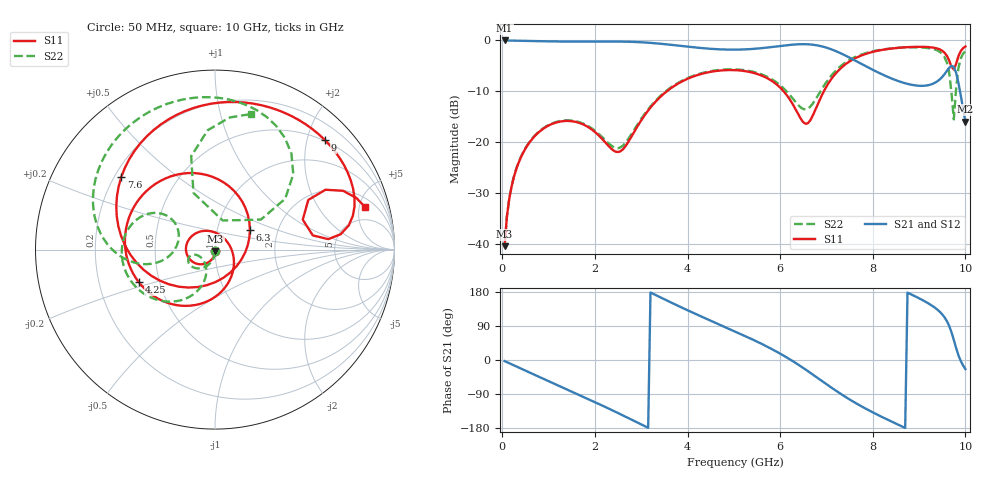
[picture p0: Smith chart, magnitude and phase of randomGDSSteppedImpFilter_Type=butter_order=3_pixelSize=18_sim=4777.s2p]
! freq	dB(S11)	phase(S11)	dB(S12)	phase(S12)
!  dB(S21)	phase(S21)	dB(S22)	phase(S22)
!S-par simulation data
#  GHz  S  DB  R 50
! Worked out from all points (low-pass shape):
!   200 points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, 50 MHz to 10 GHz, reference 50 ohm
!   highest |S21| = -0.02 dB at 50 MHz (marker M1); lowest = -15.9 dB at 10 GHz (marker M2)
!   |S21| within 3 dB of the highest: start of sweep to 7.418 GHz
!   lowest |S11| = -40.4 dB at 50 MHz (marker M3), VSWR 1.02, Z = 50.1 - j0.953 ohm
!   |S11| at or under -10 dB: start of sweep to 3.551 GHz; 6.075 GHz to 6.943 GHz (868.7 MHz wide, 13.3 % of centre)
!   |S22| runs from -40.4 to -1.4 dB; largest |S21 - S12| = 0
!   S11 on the Smith chart (normalised r, x): 50 MHz: 1.00, -0.02; 4.25 GHz: 0.38, -0.18; 6.3 GHz: 1.44, +0.34; 7.6 GHz: 0.23, +0.33; 9 GHz: 0.48, +2.33; 10 GHz: 2.97, +5.76
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0.05  -40.40 -84.6  -0.02 -2.9  -0.02 -2.9  -40.35 -83.7
0.2  -28.70 -98.8  -0.05 -11.3  -0.05 -11.3  -28.63 -95.4
0.55  -20.52 -124.3  -0.11 -30.8  -0.11 -30.8  -20.43 -114.5
1.15  -16.16 -165.1  -0.22 -64.0  -0.22 -64.0  -16.05 -141.9
1.75  -16.52 149.7  -0.25 -97.1  -0.25 -97.1  -16.34 -163.0
2.55  -21.78 27.3  -0.24 -143.0  -0.24 -143.0  -21.02 -134.4
3.4  -11.20 -93.6  -0.65 166.1  -0.65 166.1  -11.02 -116.3
4.25  -6.71 -156.8  -1.47 117.4  -1.47 117.4  -6.58 -149.1
5.05  -5.86 149.7  -1.82 74.0  -1.82 74.0  -5.71 179.1
5.7  -7.32 100.9  -1.44 36.4  -1.44 36.4  -7.06 154.8
6.3  -12.98 29.9  -0.82 -5.1  -0.82 -5.1  -11.73 147.3
6.55  -16.38 -38.3  -0.75 -25.2  -0.75 -25.2  -13.55 168.2
6.7  -14.84 -89.3  -0.85 -38.0  -0.85 -38.0  -12.46 -175.7
7.1  -7.65 -164.4  -1.74 -72.3  -1.74 -72.3  -6.97 -170.5
7.6  -3.60 142.1  -3.87 -111.4  -3.87 -111.4  -3.35 167.0
8.35  -1.67 84.9  -7.28 -159.2  -7.28 -159.2  -1.63 130.3
9  -1.26 45.0  -8.91 162.9  -8.91 162.9  -1.37 97.2
9.35  -1.50 23.9  -8.29 137.3  -8.29 137.3  -1.82 73.3
9.6  -3.03 7.0  -6.00 102.7  -6.00 102.7  -4.36 43.9
9.75  -5.74 18.8  -5.21 53.0  -5.21 53.0  -15.51 75.1
9.85  -3.10 28.5  -8.37 12.6  -8.37 12.6  -5.41 104.3
10  -1.21 15.7  -15.93 -23.8  -15.93 -23.8  -2.14 75.1
